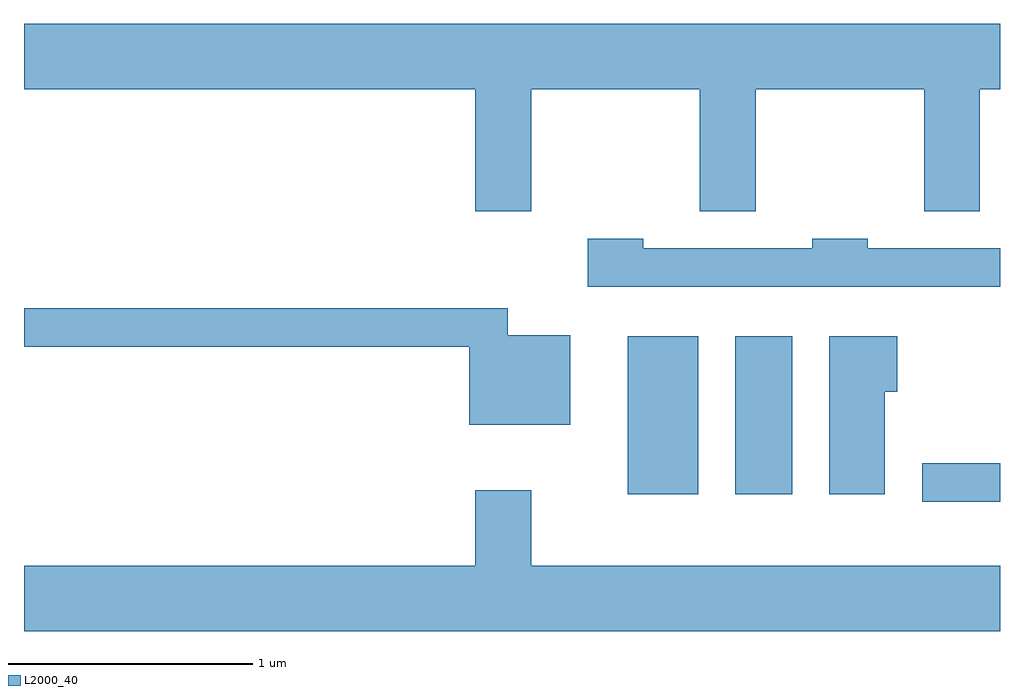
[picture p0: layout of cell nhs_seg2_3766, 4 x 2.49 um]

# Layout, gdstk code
import gdstk
lib = gdstk.Library(unit=1e-6, precision=1e-09)
def R(c, l, rs):  # rectangles x0, y0, x1, y1
    for r in rs: c.add(gdstk.rectangle(r[:2], r[2:], *l))
def P(c, l, *ps):  # polygons
    for p in ps: c.add(gdstk.Polygon(p, *l))
L2000_40 = (2000, 40)

nhs_seg2_3766 = lib.new_cell('nhs_seg2_3766')
R(nhs_seg2_3766, L2000_40, [(299.293,1051.066,299.611,1051.224), (298.086,1051.096,298.374,1051.744), (298.526,1051.096,298.759,1051.744)])
P(nhs_seg2_3766, L2000_40, [(295.611,1052.756),(297.461,1052.756),(297.461,1052.256),(297.689,1052.256),(297.689,1052.756),(298.381,1052.756),(298.381,1052.256),(298.609,1052.256),(298.609,1052.756),(299.301,1052.756),(299.301,1052.256),(299.529,1052.256),(299.529,1052.756),(299.611,1052.756),(299.611,1053.024),(295.611,1053.024)],
  [(299.611,1052.104),(299.069,1052.104),(299.069,1052.144),(298.841,1052.144),(298.841,1052.104),(298.149,1052.104),(298.149,1052.144),(297.921,1052.144),(297.921,1051.946),(299.611,1051.946)],
  [(297.849,1051.749),(297.594,1051.749),(297.594,1051.859),(295.611,1051.859),(295.611,1051.701),(297.436,1051.701),(297.436,1051.381),(297.849,1051.381)],
  [(299.139,1051.516),(299.189,1051.516),(299.189,1051.744),(298.911,1051.744),(298.911,1051.096),(299.139,1051.096)],
  [(299.611,1050.804),(297.689,1050.804),(297.689,1051.114),(297.461,1051.114),(297.461,1050.804),(295.611,1050.804),(295.611,1050.536),(299.611,1050.536)])

lib.write_gds('nhs_seg2_3766.gds')
